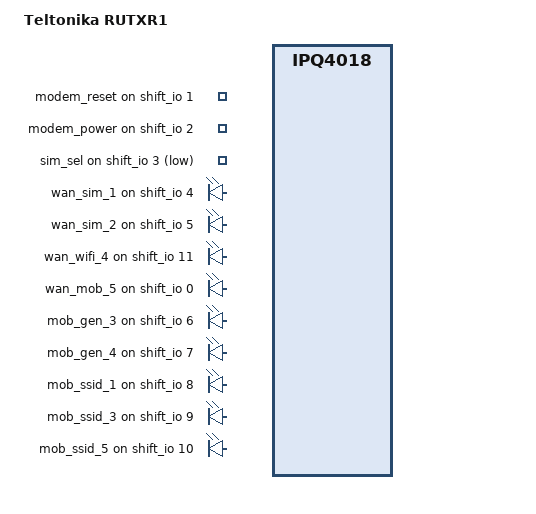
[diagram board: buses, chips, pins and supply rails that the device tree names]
#include "qcom-ipq4018-rutx-common.dtsi"
#include "qcom-ipq4018-rutx-shiftreg.dtsi"
#include "qcom-ipq4018-rutx-i2c.dtsi" // SFP

/ {
	model = "Teltonika RUTXR1";

	soc {
		gpio-export {
			compatible = "gpio-export";
			#size-cells = <0>;

			gpio_modem_reset {
				gpio-export,name = "modem_reset";
				gpio-export,output = <0>;
				gpios = <&shift_io 1 GPIO_ACTIVE_HIGH>;
			};

			gpio_modem_power {
				gpio-export,name = "modem_power";
				gpio-export,output = <0>;
				gpios = <&shift_io 2 GPIO_ACTIVE_HIGH>;
			};

			gpio_sim_select {
				gpio-export,name = "sim_sel";
				gpio-export,output = <1>;
				gpios = <&shift_io 3 GPIO_ACTIVE_LOW>;
			};
		};

		leds {
			compatible = "gpio-leds";

			led_wan_sim1 {
				label = "wan_sim_1";
				gpios = <&shift_io 4 GPIO_ACTIVE_HIGH>;
			};

			led_wan_sim2 {
				label = "wan_sim_2";
				gpios = <&shift_io 5 GPIO_ACTIVE_HIGH>;
			};

			led_wan_eth {
				label = "wan_wifi_4"; // not wan_eth_3 !
				gpios = <&shift_io 11 GPIO_ACTIVE_HIGH>;
			};

			led_wan_mob {
				label = "wan_mob_5";
				gpios = <&shift_io 0 GPIO_ACTIVE_HIGH>;
			};

			led_gen_3 {
				label = "mob_gen_3";
				gpios = <&shift_io 6 GPIO_ACTIVE_HIGH>;
			};

			led_gen_4 {
				label = "mob_gen_4";
				gpios = <&shift_io 7 GPIO_ACTIVE_HIGH>;
			};

			led_ssid_1 {
				label = "mob_ssid_1";
				gpios = <&shift_io 8 GPIO_ACTIVE_HIGH>;
				linux,default-trigger = "timer";
			};

			led_ssid_3 {
				label = "mob_ssid_3";
				gpios = <&shift_io 9 GPIO_ACTIVE_HIGH>;
				linux,default-trigger = "timer";
			};

			led_ssid_5 {
				label = "mob_ssid_5";
				gpios = <&shift_io 10 GPIO_ACTIVE_HIGH>;
				linux,default-trigger = "timer";
			};
		};
	};
};
